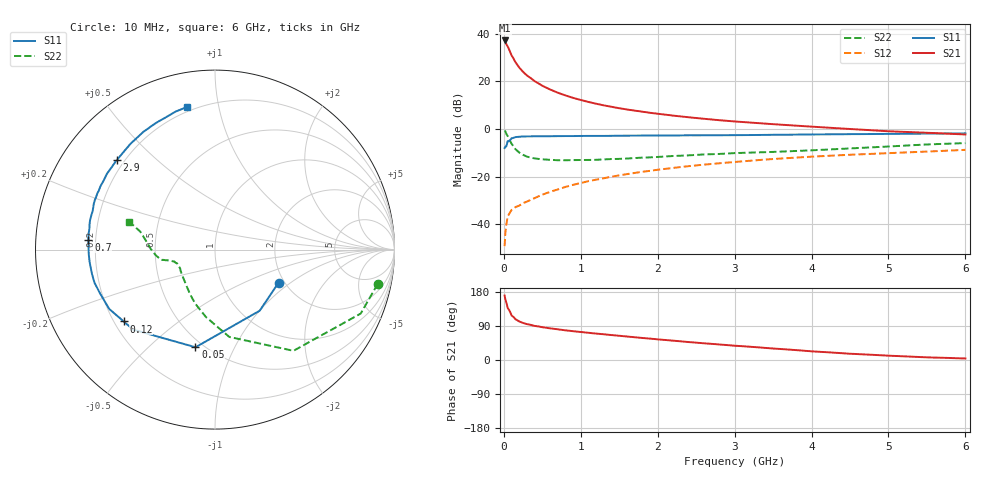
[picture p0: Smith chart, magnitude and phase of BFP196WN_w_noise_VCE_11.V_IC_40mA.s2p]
! Infineon Technologies  Discrete & RF Semiconductors
! BFP196WN
! VCE =  11. V,  IC =  40 mA
! Common Emitter S-Parameters:  Jan 2017
# GHz  S  MA  R  50
!  f  S11  S21  S12  S22
! GHz  MAG  ANG  MAG  ANG  MAG  ANG  MAG  ANG
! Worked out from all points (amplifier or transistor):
!   77 points, 10 MHz to 6 GHz, reference 50 ohm
!   highest |S21| = 37.1 dB at 10 MHz (marker M1)
!   |S21| within 3 dB of that: start of sweep to 57.35 MHz
!   unconditionally stable (mu >= 1): 707.8 MHz to 2.708 GHz
!   at 130 MHz: K = 0.46, MSG = 31.2 dB, |S12| = -33.2 dB
!   at 2.2 GHz: K = 1.02, MAG = 10.0 dB, |S12| = -16.3 dB
!   at 6 GHz: K = 0.89, MSG = 3.2 dB, |S12| = -8.8 dB
!   lowest NFmin = 1.16 dB at 450 MHz
!   S11 on the Smith chart (normalised r, x): 10 MHz: 1.87, -0.81; 50 MHz: 0.45, -0.71; 120 MHz: 0.24, -0.33; 700 MHz: 0.17, +0.04; 2.9 GHz: 0.17, +0.38; 6 GHz: 0.18, +0.81
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0.01  0.399 -27.4  71.49 170.0  0.0035 71.8  0.9266 -11.9
0.02  0.4219 -53.8  66.53 159.7  0.0067 71.1  0.8865 -23.7
0.05  0.5548 -101.3  53.65 137.2  0.0145 54.9  0.7136 -52.2
0.1  0.6374 -135.6  34.93 117.5  0.02 47.7  0.4932 -80.7
0.12  0.6472 -141.8  30.93 114.4  0.0212 46.7  0.4428 -86.5
0.15  0.6757 -150.7  25.18 107.8  0.023 45.4  0.3782 -97.8
0.2  0.6855 -159.1  19.37 101.8  0.0248 47.6  0.3209 -110.0
0.25  0.6963 -164.7  15.72 97.7  0.0279 49.9  0.2873 -118.5
0.3  0.6987 -168.7  13.22 94.7  0.03 51.4  0.2632 -125.8
0.4  0.7022 -174.5  10.02 90.0  0.0356 56.1  0.2414 -135.4
0.5  0.7042 -178.5  8.044 86.6  0.0419 60.4  0.2314 -142.7
0.6  0.7047 178.3  6.726 83.6  0.0481 61.7  0.2256 -147.8
0.7  0.7071 175.5  5.76 81.0  0.054 63.6  0.2211 -151.3
0.9  0.7095 170.6  4.481 76.0  0.0676 64.9  0.2226 -156.0
1.1  0.7151 166.6  3.68 71.8  0.0806 65.8  0.2243 -159.5
1.5  0.7217 159.4  2.719 63.9  0.1066 65.7  0.236 -163.7
2.1  0.7295 149.6  1.993 52.8  0.1461 63.0  0.265 -166.8
2.9  0.7402 137.5  1.48 39.4  0.197 57.8  0.3057 -169.8
3.1  0.7433 134.5  1.399 36.4  0.2094 56.3  0.3155 -171.5
4.1  0.7693 120.0  1.093 21.7  0.2676 48.4  0.3632 178.1
5.1  0.7896 109.1  0.882 10.6  0.316 41.1  0.4377 165.8
6  0.8089 101.2  0.767 4.0  0.3647 35.2  0.5058 162.3
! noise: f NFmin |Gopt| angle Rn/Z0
0.45  1.16  0.5  -179  0.04
0.9  1.29  0.54  -173  0.05
1.9  2.21  0.68  -148  0.13
2.4  2.95  0.69  -141  0.26
